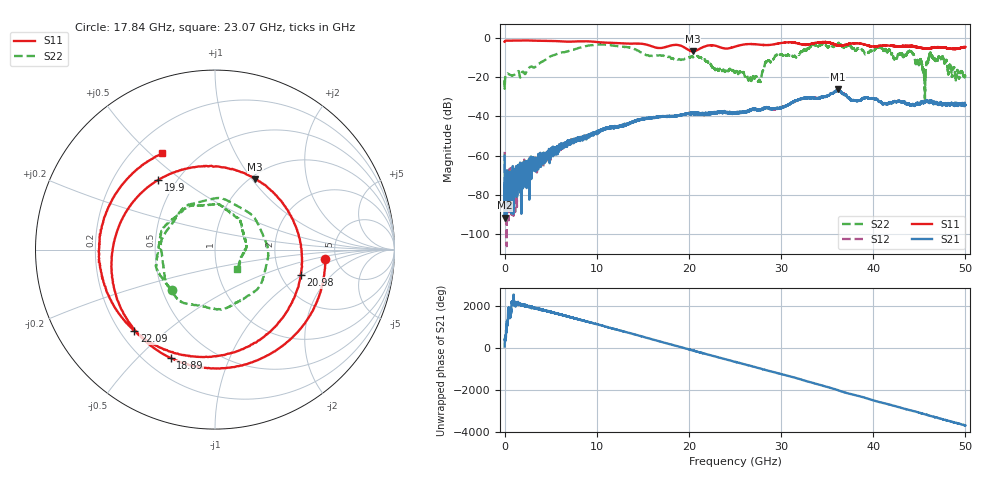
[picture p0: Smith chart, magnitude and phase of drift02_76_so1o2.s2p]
!Created with skrf (http://scikit-rf.org).
# Hz S RI R 50.0
!freq ReS11 ImS11 ReS21 ImS21 ReS12 ImS12 ReS22 ImS22
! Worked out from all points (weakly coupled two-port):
!   10001 points, 300 kHz to 50 GHz, reference 50 ohm
!   highest |S21| = -26.26 dB at 36.13 GHz (marker M1); lowest = -91.7 dB at 25.3 MHz (marker M2)
!   lowest |S11| = -6.9 dB at 20.4 GHz (marker M3), VSWR 2.64, Z = 52.7 + j51.9 ohm
!   |S11| at or under -10 dB: nowhere
!   |S22| runs from -33.1 to -2.5 dB; largest |S21 - S12| = 0.0048
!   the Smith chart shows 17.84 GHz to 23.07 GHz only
!   S11 on the Smith chart (normalised r, x): 17.84 GHz: 4.08, -0.71; 18.89 GHz: 0.30, -0.63; 19.9 GHz: 0.40, +0.41; 20.98 GHz: 2.57, -0.96; 22.09 GHz: 0.26, -0.39; 23.07 GHz: 0.32, +0.55
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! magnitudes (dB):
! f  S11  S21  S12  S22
! 300 kHz  -2.0  -60.1  -58.1  -21.7
! 25.3 MHz  -1.9  -91.7  -79.6  -23.4
! 265.3 MHz  -1.4  -67.5  -83.2  -18.2
! 8.335 GHz  -1.7  -51.4  -51.2  -4.7
! 16.67 GHz  -5.2  -40.4  -40.3  -9.0
! 17.84 GHz  -4.2  -40.1  -39.9  -9.6
! 18.89 GHz  -3.7  -39.7  -39.5  -10.9
! 19.9 GHz  -6.0  -38.8  -38.7  -9.9
! 20.4 GHz  -6.9  -38.6  -38.6  -9.7
! 20.98 GHz  -6.1  -38.6  -38.3  -9.3
! 22.09 GHz  -3.9  -38.6  -38.3  -12.4
! 23.07 GHz  -4.3  -38.1  -38.0  -15.8
! 25 GHz  -4.5  -38.3  -38.3  -17.6
! 27.63 GHz  -3.5  -36.9  -36.7  -21.5
! 29.54 GHz  -3.0  -35.9  -36.2  -8.8
! 33.34 GHz  -3.0  -30.5  -30.5  -3.8
! 36.13 GHz  -3.9  -26.3  -26.9  -3.2
! 41.67 GHz  -3.9  -33.3  -33.5  -6.0
! 44.12 GHz  -4.1  -34.3  -34.5  -7.0
! 45.5 GHz  -5.4  -32.8  -33.1  -17.3
! 46.27 GHz  -5.2  -31.9  -32.3  -9.0
! 50 GHz  -4.7  -34.1  -34.4  -19.8
